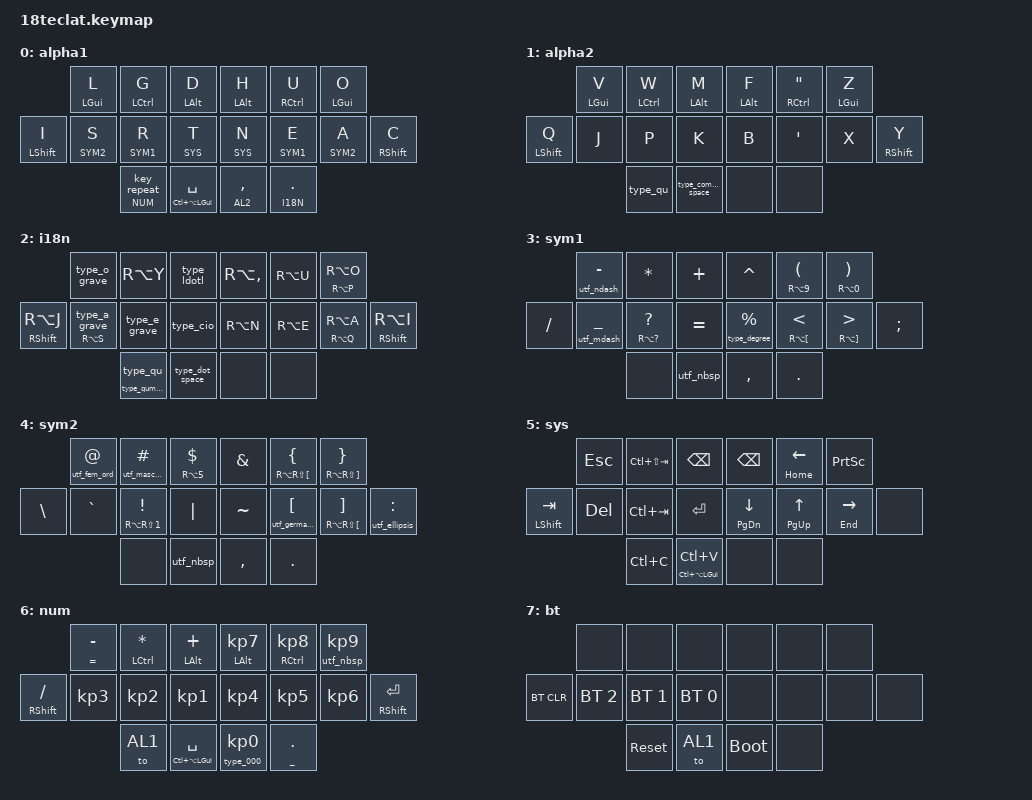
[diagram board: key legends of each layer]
/*
 * Copyright (c) 2020 The ZMK Contributors
 *
 * SPDX-License-Identifier: MIT
 */

#include <behaviors.dtsi>
#include <dt-bindings/zmk/keys.h>
#include <dt-bindings/zmk/bt.h>

&mt {
  tapping-term-ms = <201>;
  flavor = "tap-preferred";
};

// ===================
//   LAYERS
// ===================

#define AL1 0
#define AL2 1
#define I18N 2
#define SYM1 3
#define SYM2 4
#define SYS 5
#define NUM 6
#define BT 7

// ===================
//   DELAYS
// ===================

#define HOLDTAP_TAPPING_TERM_MS 200
#define HOLDTAP_QUICK_TAP_MS 200

// ===================
//   LAYOUT
// ===================

/* -------------------------------------- */
/*     0   1   2     |     3   4   5       */
/* 6   7   8   9     |    10  11  12  13  */
/*             14 15 | 16 17              */
/* -------------------------------------- */

/ {
  combos {
    compatible = "zmk,combos";
    combo_bt  {
      timeout-ms = <10>;
      key-positions = <3 4 5>;
      bindings = <&to BT>;
      layers = <SYS>;
    };
    combo_caps {
      timeout-ms = <30>;
      key-positions = <7 8 9>;
      bindings = <&caps_word>;
      layers = <AL1>;
    };
    combo_num {
      timeout-ms = <30>;
      key-positions = <10 11 12>;
      bindings = <&to NUM>;
      layers = <AL1>;
    };
  };

  macros {
    utf_ellipsis: utf_ellipsis { // …
      compatible = "zmk,behavior-macro";
      wait-ms = <0>;
      tap-ms = <0>;
      #binding-cells = <0>;
      bindings
        = < &macro_tap &kp LC(LS(U)) >
        , < &macro_wait_time 50 >
        , < &macro_tap &kp N2 &kp N0 &kp N2 &kp N6 >
        , < &macro_wait_time 20 >
        , < &macro_tap &kp ENTER >;
    };
    utf_fem_ord: utf_fem_ord { // ª
      compatible = "zmk,behavior-macro";
      wait-ms = <0>;
      tap-ms = <0>;
      #binding-cells = <0>;
      bindings
        = < &macro_tap &kp LC(LS(U)) >
        , < &macro_wait_time 50 >
        , < &macro_tap &kp N0 &kp N0 &kp A &kp A >
        , < &macro_wait_time 20 >
        , < &macro_tap &kp ENTER >;
    };
    utf_masc_ord: utf_masc_ord { // º
      compatible = "zmk,behavior-macro";
      wait-ms = <0>;
      tap-ms = <0>;
      #binding-cells = <0>;
      bindings
        = < &macro_tap &kp LC(LS(U)) >
        , < &macro_wait_time 50 >
        , < &macro_tap &kp N0 &kp N0 &kp B &kp A >
        , < &macro_wait_time 20 >
        , < &macro_tap &kp ENTER >;
    };
    utf_ndash: utf_ndash { // —
      compatible = "zmk,behavior-macro";
      wait-ms = <0>;
      tap-ms = <0>;
      #binding-cells = <0>;
      bindings
        = < &macro_tap &kp LC(LS(U)) >
        , < &macro_wait_time 50 >
        , < &macro_tap &kp N2 &kp N0 &kp N1 &kp N3 >
        , < &macro_wait_time 20 >
        , < &macro_tap &kp ENTER >;
    };
    utf_mdash: utf_mdash { // —
      compatible = "zmk,behavior-macro";
      wait-ms = <0>;
      tap-ms = <0>;
      #binding-cells = <0>;
      bindings
        = < &macro_tap &kp LC(LS(U)) >
        , < &macro_wait_time 50 >
        , < &macro_tap &kp N2 &kp N0 &kp N1 &kp N4 >
        , < &macro_wait_time 20 >
        , < &macro_tap &kp ENTER >;
    };
    utf_nbsp: utf_nbsp {
      compatible = "zmk,behavior-macro";
      wait-ms = <0>;
      tap-ms = <0>;
      #binding-cells = <0>;
      bindings
        = < &macro_tap &kp LC(LS(U)) >
        , < &macro_wait_time 50 >
        , < &macro_tap &kp N0 &kp N0 &kp A &kp N0 >
        , < &macro_wait_time 20 >
        , < &macro_tap &kp ENTER >;
    };
    utf_german_quote: utf_german_quote { // „
      compatible = "zmk,behavior-macro";
      wait-ms = <0>;
      tap-ms = <0>;
      #binding-cells = <0>;
      bindings
        = < &macro_tap &kp LC(LS(U)) >
        , < &macro_wait_time 50 >
        , < &macro_tap &kp N2 &kp N0 &kp N1 &kp E >
        , < &macro_wait_time 20 >
        , < &macro_tap &kp ENTER >;
    };
    type_qu: type_qu { // qu
      compatible = "zmk,behavior-macro";
      wait-ms = <0>;
      tap-ms = <0>;
      #binding-cells = <0>;
      bindings
        = < &macro_tap &kp Q &kp U >;
    };
    type_qumlaut: type_qumlaut { // qü
      compatible = "zmk,behavior-macro";
      wait-ms = <0>;
      tap-ms = <0>;
      #binding-cells = <0>;
      bindings
        = < &macro_tap &kp Q &kp RA(Y) >;
    };
    type_ldotl: type_ldotl { // l·l
      compatible = "zmk,behavior-macro";
      wait-ms = <0>;
      tap-ms = <0>;
      #binding-cells = <0>;
      bindings
        = < &macro_tap &kp L &kp LC(LS(U)) >
        , < &macro_wait_time 50 >
        , < &macro_tap &kp N0 &kp N0 &kp B &kp N7 >
        , < &macro_wait_time 20 >
        , < &macro_tap &kp ENTER >
        , < &macro_tap &kp L >;
    };
    type_cio: type_cio { // ció
      compatible = "zmk,behavior-macro";
      wait-ms = <0>;
      tap-ms = <0>;
      #binding-cells = <0>;
      bindings
        = < &macro_tap &kp C &kp I &kp RA(O) >;
    };
    type_000: type_000 { // 000
      compatible = "zmk,behavior-macro";
      wait-ms = <0>;
      tap-ms = <0>;
      #binding-cells = <0>;
      bindings
        = < &macro_tap &kp N0 &kp N0 &kp N0 >;
    };
    type_o_grave: type_o_grave { // ò
      compatible = "zmk,behavior-macro";
      wait-ms = <0>;
      tap-ms = <0>;
      #binding-cells = <0>;
      bindings
        = < &macro_tap &kp RA(GRAVE) &kp O >;
    };
    type_a_grave: type_a_grave { // à
      compatible = "zmk,behavior-macro";
      wait-ms = <0>;
      tap-ms = <0>;
      #binding-cells = <0>;
      bindings
        = < &macro_tap &kp RA(GRAVE) &kp A >;
    };
    type_e_grave: type_e_grave { // è
      compatible = "zmk,behavior-macro";
      wait-ms = <0>;
      tap-ms = <0>;
      #binding-cells = <0>;
      bindings
        = < &macro_tap &kp RA(GRAVE) &kp E >;
    };
    type_degree: type_degree { // °
      compatible = "zmk,behavior-macro";
      wait-ms = <0>;
      tap-ms = <0>;
      #binding-cells = <0>;
      bindings
        = < &macro_tap &kp RA(LS(N0)) &kp SPACE >;
    };
    type_comma_space: type_comma_space { // ,_
      compatible = "zmk,behavior-macro";
      wait-ms = <0>;
      tap-ms = <0>;
      #binding-cells = <0>;
      bindings
        = < &macro_tap &kp COMMA &kp SPACE >;
    };
    type_dot_space: type_dot_space { // ,_
      compatible = "zmk,behavior-macro";
      wait-ms = <0>;
      tap-ms = <0>;
      #binding-cells = <0>;
      bindings
        = < &macro_tap &kp DOT &kp SPACE >;
    };
  };

  behaviors {
    // ---------------------------------------------------
    //    GENERICS
    // ---------------------------------------------------
    hrm: homerow_mods {
      compatible = "zmk,behavior-hold-tap";
      #binding-cells = <2>;
      tapping-term-ms = <300>;
      quick-tap-ms = <250>;
      flavor = "tap-preferred";
      bindings = <&kp>, <&kp>;
    };
    ht: holdtap {
      compatible = "zmk,behavior-hold-tap";
      #binding-cells = <2>;
      tapping-term-ms = <HOLDTAP_TAPPING_TERM_MS>;
      quick-tap-ms = <HOLDTAP_QUICK_TAP_MS>;
      flavor = "tap-preferred";
      bindings = <&kp>, <&kp>;
    };
    htl: holdtap_layer {
      compatible = "zmk,behavior-hold-tap";
      #binding-cells = <2>;
      tapping-term-ms = <220>;
      quick-tap-ms = <250>;
      flavor = "tap-preferred";
      bindings = <&mo>, <&kp>;
    };
    htl2: holdtap_layer_2 {
      compatible = "zmk,behavior-hold-tap";
      #binding-cells = <2>;
      tapping-term-ms = <220>;
      quick-tap-ms = <250>;
      flavor = "hold-preferred";
      bindings = <&mo>, <&kp>;
    };

    // ---------------------------------------------------
    //    SPECIAL KEYS
    // ---------------------------------------------------
    mo_rpt: mo_rpt {
      compatible = "zmk,behavior-hold-tap";
      #binding-cells = <2>;
      tapping-term-ms = <HOLDTAP_TAPPING_TERM_MS>;
      quick-tap-ms = <HOLDTAP_QUICK_TAP_MS>;
      flavor = "tap-preferred";
      bindings = <&mo>, <&key_repeat>;
    };

    // ---------------------------------------------------
    //    I18N - HOLDING UTF CHARS
    // ---------------------------------------------------
    ht_elli: ht_elli {
      compatible = "zmk,behavior-hold-tap";
      #binding-cells = <2>;
      tapping-term-ms = <HOLDTAP_TAPPING_TERM_MS>;
      quick-tap-ms = <HOLDTAP_QUICK_TAP_MS>;
      flavor = "tap-preferred";
      bindings = <&utf_ellipsis>, <&kp>;
    };
    ht_ndsh: ht_ndsh {
      compatible = "zmk,behavior-hold-tap";
      #binding-cells = <2>;
      tapping-term-ms = <HOLDTAP_TAPPING_TERM_MS>;
      quick-tap-ms = <HOLDTAP_QUICK_TAP_MS>;
      flavor = "tap-preferred";
      bindings = <&utf_ndash>, <&kp>;
    };
    ht_ordf: ht_ordf {
      compatible = "zmk,behavior-hold-tap";
      #binding-cells = <2>;
      tapping-term-ms = <HOLDTAP_TAPPING_TERM_MS>;
      quick-tap-ms = <HOLDTAP_QUICK_TAP_MS>;
      flavor = "tap-preferred";
      bindings = <&utf_fem_ord>, <&kp>;
    };
    ht_ordm: ht_ordm {
      compatible = "zmk,behavior-hold-tap";
      #binding-cells = <2>;
      tapping-term-ms = <HOLDTAP_TAPPING_TERM_MS>;
      quick-tap-ms = <HOLDTAP_QUICK_TAP_MS>;
      flavor = "tap-preferred";
      bindings = <&utf_masc_ord>, <&kp>;
    };
    ht_mdsh: ht_mdsh {
      compatible = "zmk,behavior-hold-tap";
      #binding-cells = <2>;
      tapping-term-ms = <HOLDTAP_TAPPING_TERM_MS>;
      quick-tap-ms = <HOLDTAP_QUICK_TAP_MS>;
      flavor = "tap-preferred";
      bindings = <&utf_mdash>, <&kp>;
    };
    ht_agrv: ht_agrv {
      compatible = "zmk,behavior-hold-tap";
      #binding-cells = <2>;
      tapping-term-ms = <HOLDTAP_TAPPING_TERM_MS>;
      quick-tap-ms = <HOLDTAP_QUICK_TAP_MS>;
      flavor = "tap-preferred";
      bindings = <&kp>, <&type_a_grave>;
    };
    ht_deg: ht_deg {
      compatible = "zmk,behavior-hold-tap";
      #binding-cells = <2>;
      tapping-term-ms = <HOLDTAP_TAPPING_TERM_MS>;
      quick-tap-ms = <HOLDTAP_QUICK_TAP_MS>;
      flavor = "tap-preferred";
      bindings = <&type_degree>, <&kp>;
    };
    ht_deqt: ht_deqt {
      compatible = "zmk,behavior-hold-tap";
      #binding-cells = <2>;
      tapping-term-ms = <HOLDTAP_TAPPING_TERM_MS>;
      quick-tap-ms = <HOLDTAP_QUICK_TAP_MS>;
      flavor = "tap-preferred";
      bindings = <&utf_german_quote>, <&kp>;
    };
    ht_nbsp: ht_nbsp {
      compatible = "zmk,behavior-hold-tap";
      #binding-cells = <2>;
      tapping-term-ms = <HOLDTAP_TAPPING_TERM_MS>;
      quick-tap-ms = <HOLDTAP_QUICK_TAP_MS>;
      flavor = "tap-preferred";
      bindings = <&utf_nbsp>, <&kp>;
    };
    ht_000: ht_000 {
      compatible = "zmk,behavior-hold-tap";
      #binding-cells = <2>;
      tapping-term-ms = <HOLDTAP_TAPPING_TERM_MS>;
      quick-tap-ms = <HOLDTAP_QUICK_TAP_MS>;
      flavor = "tap-preferred";
      bindings = <&type_000>, <&kp>;
    };
    ht_qu_i18n: ht_qu_i18n {
      compatible = "zmk,behavior-hold-tap";
      #binding-cells = <2>;
      tapping-term-ms = <HOLDTAP_TAPPING_TERM_MS>;
      quick-tap-ms = <HOLDTAP_QUICK_TAP_MS>;
      flavor = "tap-preferred";
      bindings = <&type_qumlaut>, <&type_qu>;
    };
  };
  keymap {
    compatible = "zmk,keymap";
    alpha1 {
      bindings = <
                      &hrm LGUI L       &hrm LCTL G         &hrm LALT D              &hrm  LALT H      &hrm  RCTL U      &hrm LGUI O
        &mt LSHIFT I  &htl SYM2 S       &htl SYM1 R         &htl SYS  T              &htl  SYS  N      &htl  SYM1 E      &htl SYM2 A      &mt RSHIFT C
                                        &mo_rpt NUM 0       &ht LC(LA(LGUI)) SPC     &htl2 AL2  COMMA  &htl2 I18N DOT
      >;
    };

    alpha2 {
      bindings = <
                      &hrm LGUI V       &hrm LCTL W         &hrm LALT M              &hrm LALT F     &hrm RCTL DQT    &hrm LGUI Z
        &mt LSHIFT Q  &kp  J            &kp  P              &kp  K                   &kp B           &kp  SQT         &kp  X           &mt RSHIFT Y
                                        &type_qu            &type_comma_space        &none           &none
      >;
    };

    i18n {
      bindings = <
                          &type_o_grave        &kp RA(Y)           &type_ldotl              &kp RA(COMMA)   &kp RA(U)        &ht RA(P) RA(O)
        &mt RSHIFT RA(J)  &ht_agrv RA(S) 0     &type_e_grave       &type_cio                &kp RA(N)       &kp RA(E)        &ht RA(Q) RA(A)  &mt RSHIFT RA(I)
                                               &ht_qu_i18n 0 0     &type_dot_space          &none           &none
      >;
    };

    sym1 {
      bindings = <
                   &ht_ndsh 0 MINUS  &kp STAR            &kp PLUS                 &kp CARET       &ht RA(N9) LPAR  &ht RA(N0) RPAR
        &kp SLASH  &ht_mdsh 0 UNDER  &ht RA(QMARK) QMARK &kp EQUAL                &ht_deg 0 PRCNT &ht RA(LBKT) LT  &ht RA(RBKT) GT  &kp SEMICOLON
                                     &none               &utf_nbsp                &kp COMMA       &kp DOT
      >;
    };

    sym2 {
      bindings = <
                    &ht_ordf 0 AT   &ht_ordm 0 HASH       &ht RA(N5) DOLLAR             &kp AMPS    &ht RA(RS(LBKT)) LBRC   &ht RA(RS(RBKT)) RBRC
         &kp BSLH   &kp GRAVE       &ht RA(RS(N1)) EXCL   &kp PIPE                      &kp TILDE   &ht_deqt 0 LBKT         &ht RA(RS(LBKT)) RBKT   &ht_elli 0 COLON
                                    &none                 &utf_nbsp                     &kp COMMA   &kp DOT
      >;
    };

    sys {
      bindings = <
                         &kp ESC     &kp LC(LS(TAB))   &kp BKSP                   &kp BKSP        &ht HOME LEFT  &kp PSCRN
        &mt LSHIFT TAB   &kp DEL     &kp LC(TAB)       &kp ENTER                  &ht PG_DN DOWN  &ht PG_UP UP   &ht END RIGHT      &none
                                     &kp LC(C)         &ht LC(LA(LGUI)) LC(V)     &none           &none
      >;
    };

    num {
      bindings = <
                             &ht EQUAL MINUS &hrm LCTL STAR &hrm LALT PLUS         &hrm LALT KP_N7  &hrm RCTL KP_N8  &ht_nbsp 0 KP_N9
        &mt RSHIFT SLASH     &kp KP_N3       &kp KP_N2      &kp KP_N1              &kp KP_N4        &kp KP_N5        &kp KP_N6         &mt RSHIFT ENTER
                                             &to AL1        &ht LC(LA(LGUI)) SPC   &ht_000 0 KP_N0  &ht UNDER DOT
      >;
    };

    bt {
      bindings = <
                      &none         &none         &none                   &none       &none      &none
        &bt BT_CLR    &bt BT_SEL 2  &bt BT_SEL 1  &bt BT_SEL 0            &none       &none      &none      &none
                                    &sys_reset    &to AL1                 &bootloader &none
      >;
    };
  };
};

